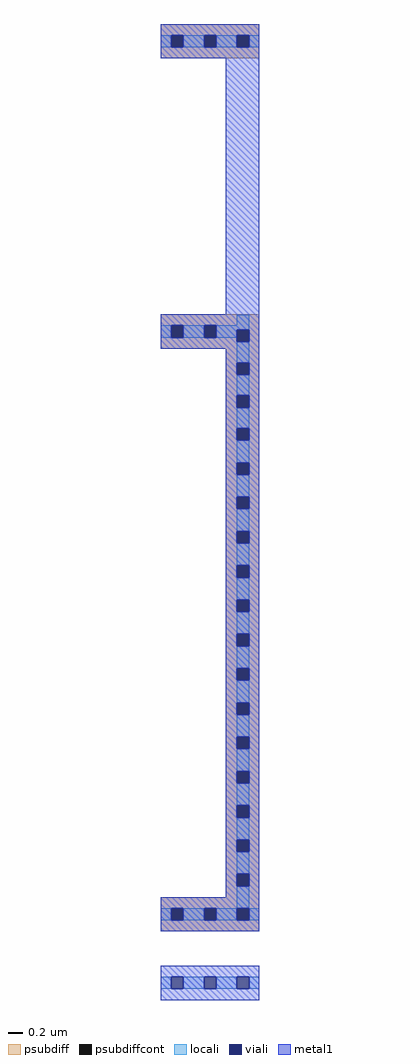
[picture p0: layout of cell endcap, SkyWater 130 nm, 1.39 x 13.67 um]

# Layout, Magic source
magic
tech sky130A
magscale 1 2
<< psubdiff >>
rect -22 2619 255 2650
rect -22 2585 8 2619
rect 42 2585 100 2619
rect 134 2585 192 2619
rect 226 2585 255 2619
rect -22 2554 255 2585
rect -21 1806 255 1837
rect -21 1772 8 1806
rect 42 1772 100 1806
rect 134 1794 255 1806
rect 134 1772 192 1794
rect -21 1760 192 1772
rect 226 1760 255 1794
rect -21 1741 255 1760
rect 160 1702 255 1741
rect 160 1668 192 1702
rect 226 1668 255 1702
rect 160 1610 255 1668
rect 160 1576 192 1610
rect 226 1576 255 1610
rect 160 1518 255 1576
rect 160 1484 192 1518
rect 226 1484 255 1518
rect 160 1422 255 1484
rect 160 1388 192 1422
rect 226 1388 255 1422
rect 160 1326 255 1388
rect 160 1292 192 1326
rect 226 1292 255 1326
rect 160 1230 255 1292
rect 160 1196 192 1230
rect 226 1196 255 1230
rect 160 1134 255 1196
rect 160 1100 192 1134
rect 226 1100 255 1134
rect 160 1038 255 1100
rect 160 1004 192 1038
rect 226 1004 255 1038
rect 160 942 255 1004
rect 160 908 192 942
rect 226 908 255 942
rect 160 846 255 908
rect 160 812 192 846
rect 226 812 255 846
rect 160 750 255 812
rect 160 716 192 750
rect 226 716 255 750
rect 160 654 255 716
rect 160 620 192 654
rect 226 620 255 654
rect 160 558 255 620
rect 160 524 192 558
rect 226 524 255 558
rect 160 462 255 524
rect 160 428 192 462
rect 226 428 255 462
rect 160 366 255 428
rect 160 332 192 366
rect 226 332 255 366
rect 160 270 255 332
rect 160 236 192 270
rect 226 236 255 270
rect 160 205 255 236
rect -21 174 255 205
rect -21 140 8 174
rect 42 140 100 174
rect 134 140 192 174
rect 226 140 255 174
rect -21 109 255 140
<< psubdiffcont >>
rect 8 2585 42 2619
rect 100 2585 134 2619
rect 192 2585 226 2619
rect 8 1772 42 1806
rect 100 1772 134 1806
rect 192 1760 226 1794
rect 192 1668 226 1702
rect 192 1576 226 1610
rect 192 1484 226 1518
rect 192 1388 226 1422
rect 192 1292 226 1326
rect 192 1196 226 1230
rect 192 1100 226 1134
rect 192 1004 226 1038
rect 192 908 226 942
rect 192 812 226 846
rect 192 716 226 750
rect 192 620 226 654
rect 192 524 226 558
rect 192 428 226 462
rect 192 332 226 366
rect 192 236 226 270
rect 8 140 42 174
rect 100 140 134 174
rect 192 140 226 174
<< locali >>
rect -22 2585 8 2619
rect 42 2585 100 2619
rect 134 2585 192 2619
rect 226 2585 255 2619
rect 192 1806 226 1836
rect -21 1772 8 1806
rect 42 1772 100 1806
rect 134 1794 226 1806
rect 134 1772 192 1794
rect 192 1702 226 1760
rect 192 1610 226 1668
rect 192 1518 226 1576
rect 192 1422 226 1484
rect 192 1326 226 1388
rect 192 1230 226 1292
rect 192 1134 226 1196
rect 192 1038 226 1100
rect 192 942 226 1004
rect 192 846 226 908
rect 192 750 226 812
rect 192 654 226 716
rect 192 558 226 620
rect 192 462 226 524
rect 192 366 226 428
rect 192 270 226 332
rect 192 174 226 236
rect -21 140 8 174
rect 42 140 100 174
rect 134 140 192 174
rect 226 140 255 174
rect -21 -52 8 -18
rect 42 -52 100 -18
rect 134 -52 192 -18
rect 226 -52 255 -18
<< viali >>
rect 8 2585 42 2619
rect 100 2585 134 2619
rect 192 2585 226 2619
rect 8 1772 42 1806
rect 100 1772 134 1806
rect 192 1760 226 1794
rect 192 1668 226 1702
rect 192 1576 226 1610
rect 192 1484 226 1518
rect 192 1388 226 1422
rect 192 1292 226 1326
rect 192 1196 226 1230
rect 192 1100 226 1134
rect 192 1004 226 1038
rect 192 908 226 942
rect 192 812 226 846
rect 192 716 226 750
rect 192 620 226 654
rect 192 524 226 558
rect 192 428 226 462
rect 192 332 226 366
rect 192 236 226 270
rect 8 140 42 174
rect 100 140 134 174
rect 192 140 226 174
rect 8 -52 42 -18
rect 100 -52 134 -18
rect 192 -52 226 -18
<< metal1 >>
rect -22 2619 255 2650
rect -22 2585 8 2619
rect 42 2585 100 2619
rect 134 2585 192 2619
rect 226 2585 255 2619
rect -22 2554 255 2585
rect 160 1837 255 2554
rect -21 1806 255 1837
rect -21 1772 8 1806
rect 42 1772 100 1806
rect 134 1794 255 1806
rect 134 1772 192 1794
rect -21 1760 192 1772
rect 226 1760 255 1794
rect -21 1741 255 1760
rect 160 1702 255 1741
rect 160 1668 192 1702
rect 226 1668 255 1702
rect 160 1610 255 1668
rect 160 1576 192 1610
rect 226 1576 255 1610
rect 160 1518 255 1576
rect 160 1484 192 1518
rect 226 1484 255 1518
rect 160 1422 255 1484
rect 160 1388 192 1422
rect 226 1388 255 1422
rect 160 1326 255 1388
rect 160 1292 192 1326
rect 226 1292 255 1326
rect 160 1230 255 1292
rect 160 1196 192 1230
rect 226 1196 255 1230
rect 160 1134 255 1196
rect 160 1100 192 1134
rect 226 1100 255 1134
rect 160 1038 255 1100
rect 160 1004 192 1038
rect 226 1004 255 1038
rect 160 942 255 1004
rect 160 908 192 942
rect 226 908 255 942
rect 160 846 255 908
rect 160 812 192 846
rect 226 812 255 846
rect 160 750 255 812
rect 160 716 192 750
rect 226 716 255 750
rect 160 654 255 716
rect 160 620 192 654
rect 226 620 255 654
rect 160 558 255 620
rect 160 524 192 558
rect 226 524 255 558
rect 160 462 255 524
rect 160 428 192 462
rect 226 428 255 462
rect 160 366 255 428
rect 160 332 192 366
rect 226 332 255 366
rect 160 270 255 332
rect 160 236 192 270
rect 226 236 255 270
rect 160 205 255 236
rect -21 174 255 205
rect -21 140 8 174
rect 42 140 100 174
rect 134 140 192 174
rect 226 140 255 174
rect -21 109 255 140
rect -21 -18 255 13
rect -21 -52 8 -18
rect 42 -52 100 -18
rect 134 -52 192 -18
rect 226 -52 255 -18
rect -21 -83 255 -52
<< end >>
